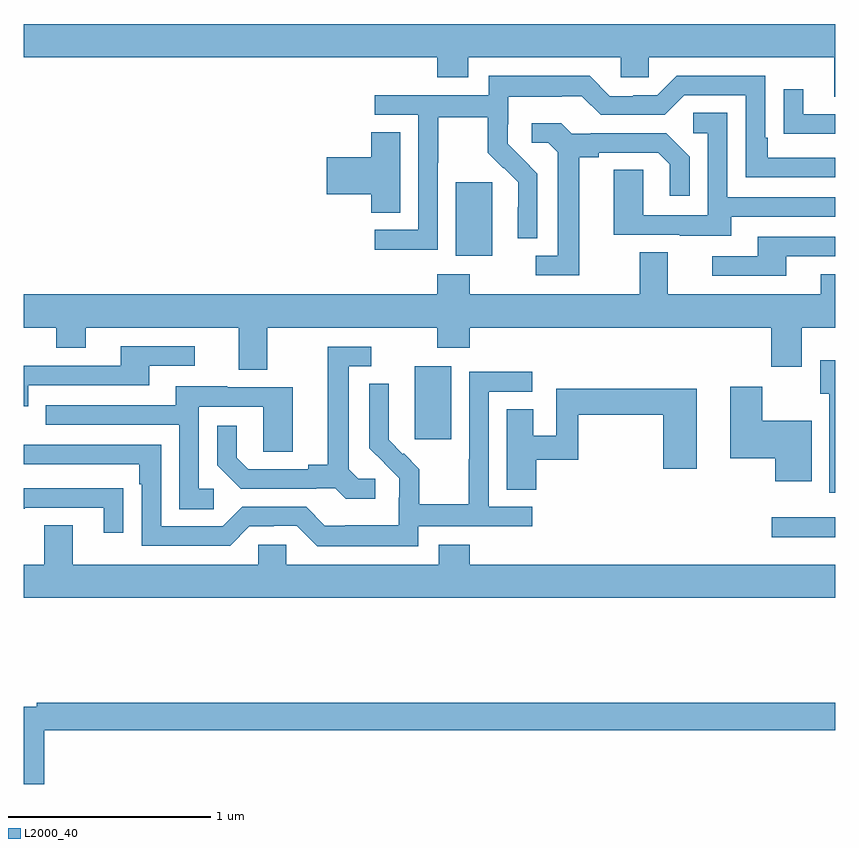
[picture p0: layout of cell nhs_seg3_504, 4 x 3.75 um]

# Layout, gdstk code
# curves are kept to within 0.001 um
import gdstk
lib = gdstk.Library(unit=1e-6, precision=1e-09)
def R(c, l, rs):  # rectangles x0, y0, x1, y1
    for r in rs: c.add(gdstk.rectangle(r[:2], r[2:], *l))
def P(c, l, *ps):  # polygons
    for p in ps: c.add(gdstk.Polygon(p, *l))
L2000_40 = (2000, 40)

nhs_seg3_504 = lib.new_cell('nhs_seg3_504')
R(nhs_seg3_504, L2000_40, [(138.687,735.848,139,735.945), (136.928,736.329,137.107,736.69), (137.129,737.234,137.308,737.595)])
P(nhs_seg3_504, L2000_40, [(139,738.376),(135,738.376),(135,738.212),(137.039,738.212),(137.039,738.113),(137.191,738.113),(137.191,738.212),(137.943,738.212),(137.943,738.114),(138.081,738.114),(138.081,738.212),(138.995,738.212),(138.995,738.018),(139,738.018)],
  [(137.04,737.692),(137.043,737.692),(137.043,737.916),(137.287,737.916),(137.287,737.741),(137.364,737.664),(137.367,737.667),(137.438,737.597),(137.438,737.474),(137.436,737.474),(137.436,737.32),(137.532,737.32),(137.532,737.638),(137.386,737.786),(137.386,737.883),(137.388,737.883),(137.388,738.017),(137.651,738.017),(137.651,738.021),(137.751,738.021),(137.844,737.928),(138.159,737.928),(138.255,738.024),(138.558,738.024),(138.558,737.622),(139,737.622),(139,737.718),(138.667,737.718),(138.667,737.815),(138.654,737.815),(138.654,738.12),(138.219,738.12),(138.123,738.024),(138.005,738.024),(138.005,738.021),(137.889,738.021),(137.789,738.121),(137.292,738.121),(137.292,738.024),(136.731,738.024),(136.731,737.928),(136.944,737.928),(136.944,737.361),(136.731,737.361),(136.731,737.263),(137.04,737.263)],
  [(139,737.931),(138.841,737.931),(138.841,738.055),(138.745,738.055),(138.745,737.836),(138.847,737.836),(138.847,737.835),(139,737.835)],
  [(138.487,737.427),(139,737.427),(139,737.523),(138.468,737.523),(138.468,737.939),(138.3,737.939),(138.3,737.838),(138.372,737.838),(138.372,737.433),(138.054,737.433),(138.054,737.657),(137.909,737.657),(137.909,737.337),(138.233,737.337),(138.233,737.333),(138.487,737.333)],
  [(137.737,737.72),(137.833,737.72),(137.833,737.742),(138.128,737.742),(138.185,737.685),(138.185,737.529),(138.282,737.529),(138.282,737.722),(138.166,737.838),(137.794,737.838),(137.794,737.835),(137.7,737.835),(137.648,737.887),(137.505,737.887),(137.505,737.79),(137.586,737.79),(137.633,737.743),(137.633,737.235),(137.523,737.235),(137.523,737.139),(137.737,737.139)],
  [(136.855,737.843),(136.712,737.843),(136.712,737.72),(136.494,737.72),(136.494,737.537),(136.712,737.537),(136.712,737.446),(136.855,737.446)],
  [(138.757,737.232),(139,737.232),(139,737.328),(138.617,737.328),(138.617,737.232),(138.393,737.232),(138.393,737.136),(138.757,737.136)],
  [(136.201,736.88),(137.038,736.88),(137.038,736.781),(137.198,736.781),(137.198,736.88),(138.683,736.88),(138.683,736.686),(138.835,736.686),(138.835,736.88),(139,736.88),(139,737.143),(138.929,737.143),(138.929,737.044),(138.175,737.044),(138.175,737.252),(138.035,737.252),(138.035,737.044),(137.199,737.044),(137.199,737.143),(137.039,737.143),(137.039,737.044),(135,737.044),(135,736.88),(135.16,736.88),(135.16,736.781),(135.307,736.781),(135.307,736.88),(136.061,736.88),(136.061,736.672),(136.201,736.672)],
  [(135.024,736.596),(135.619,736.596),(135.619,736.692),(135.844,736.692),(135.844,736.788),(135.479,736.788),(135.479,736.692),(135,736.692),(135,736.493),(135.024,736.493)],
  [(136.732,736.134),(136.65,736.134),(136.603,736.181),(136.603,736.689),(136.714,736.689),(136.714,736.785),(136.499,736.785),(136.499,736.205),(136.403,736.205),(136.403,736.182),(136.108,736.182),(136.051,736.239),(136.051,736.396),(135.954,736.396),(135.954,736.202),(136.07,736.086),(136.442,736.086),(136.442,736.089),(136.536,736.089),(136.588,736.037),(136.732,736.037)],
  [(139,736.72),(138.926,736.72),(138.926,736.554),(138.971,736.554),(138.971,736.065),(139,736.065)],
  [(136.944,735.9),(137.506,735.9),(137.506,735.996),(137.292,735.996),(137.292,736.563),(137.506,736.563),(137.506,736.662),(137.196,736.662),(137.196,736.232),(137.194,736.232),(137.194,736.009),(136.949,736.009),(136.949,736.183),(136.872,736.26),(136.869,736.257),(136.799,736.328),(136.8,736.604),(136.704,736.604),(136.704,736.286),(136.85,736.138),(136.85,736.041),(136.848,736.041),(136.848,735.907),(136.585,735.907),(136.585,735.903),(136.485,735.903),(136.392,735.996),(136.077,735.996),(135.981,735.9),(135.678,735.9),(135.678,736.302),(135,736.302),(135,736.206),(135.569,736.206),(135.569,736.109),(135.582,736.109),(135.582,735.804),(136.017,735.804),(136.113,735.9),(136.232,735.9),(136.232,735.903),(136.347,735.903),(136.447,735.803),(136.944,735.803)],
  [(135.937,736.086),(135.864,736.086),(135.864,736.491),(136.182,736.491),(136.182,736.267),(136.327,736.267),(136.327,736.587),(136.003,736.587),(136.003,736.591),(135.749,736.591),(135.749,736.497),(135.109,736.497),(135.109,736.401),(135.768,736.401),(135.768,735.985),(135.937,735.985)],
  [(138.883,736.42),(138.64,736.42),(138.64,736.588),(138.482,736.588),(138.482,736.235),(138.704,736.235),(138.704,736.124),(138.883,736.124)],
  [(137.525,736.228),(137.734,736.228),(137.734,736.45),(138.151,736.45),(138.151,736.185),(138.316,736.185),(138.316,736.579),(137.625,736.579),(137.625,736.346),(137.512,736.346),(137.512,736.478),(137.381,736.478),(137.381,736.081),(137.525,736.081)],
  [(135.491,736.088),(135.389,736.088),(135.389,736.089),(135,736.089),(135,735.988),(135.005,735.988),(135.005,735.993),(135.395,735.993),(135.395,735.87),(135.491,735.87)],
  [(139,735.712),(137.198,735.712),(137.198,735.811),(137.045,735.811),(137.045,735.712),(136.293,735.712),(136.293,735.81),(136.155,735.81),(136.155,735.712),(135.241,735.712),(135.241,735.907),(135.101,735.907),(135.101,735.712),(135,735.712),(135,735.548),(139,735.548)],
  [(135.101,734.896),(139,734.896),(139,735.032),(135.064,735.032),(135.064,735.012),(135,735.012),(135,734.631),(135.101,734.631)])

lib.write_gds('nhs_seg3_504.gds')
